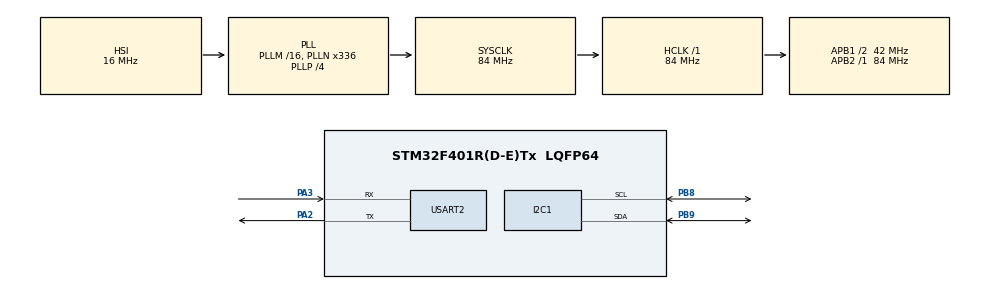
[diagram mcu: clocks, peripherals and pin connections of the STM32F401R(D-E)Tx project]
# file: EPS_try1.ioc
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Mcu.Family=STM32F4
Mcu.Name=STM32F401R(D-E)Tx
Mcu.Package=LQFP64
NVIC.PriorityGroup=NVIC_PRIORITYGROUP_0
PA2.Mode=Asynchronous
PA2.Signal=USART2_TX
PA3.Mode=Asynchronous
PA3.Signal=USART2_RX
PB8.Mode=I2C
PB8.Signal=I2C1_SCL
PB9.Mode=I2C
PB9.Signal=I2C1_SDA
ProjectManager.HeapSize=0x200
ProjectManager.StackSize=0x400
ProjectManager.TargetToolchain=STM32CubeIDE
RCC.48MHZClocksFreq_Value=48000000
RCC.AHBFreq_Value=84000000
RCC.APB1CLKDivider=RCC_HCLK_DIV2
RCC.APB1Freq_Value=42000000
RCC.APB1TimFreq_Value=84000000
RCC.APB2Freq_Value=84000000
RCC.APB2TimFreq_Value=84000000
RCC.CortexFreq_Value=84000000
RCC.HCLKFreq_Value=84000000
RCC.HSE_VALUE=8000000
RCC.HSI_VALUE=16000000
RCC.LSE_VALUE=32768
RCC.PLLN=336
RCC.PLLP=RCC_PLLP_DIV4
RCC.PLLQ=7
RCC.SYSCLKFreq_VALUE=84000000
RCC.SYSCLKSource=RCC_SYSCLKSOURCE_PLLCLK
RCC.VCOOutputFreq_Value=336000000
TIM4.Period=0
TIM4.Prescaler=84-1
USART2.VirtualMode=VM_ASYNC
VP_TIM4_VS_ClockSourceINT.Mode=Internal
board=NUCLEO-F401RE

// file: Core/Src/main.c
/* USER CODE BEGIN Header */
/**
  ******************************************************************************
  * @file           : main.c
  * @brief          : Main program body
  ******************************************************************************
  * @attention
  *
  * Copyright (c) 2023 STMicroelectronics.
  * All rights reserved.
  *
  * This software is licensed under terms that can be found in the LICENSE file
  * in the root directory of this software component.
  * If no LICENSE file comes with this software, it is provided AS-IS.
  *
  ******************************************************************************
  */
/* USER CODE END Header */
#include "main.h"

/* USER CODE BEGIN Includes */
#include "ssd1306.h"
#include "ssd1306_tests.h"
#include "ADXL345.h"

#include <stdbool.h>
#include <string.h>
#include <stdio.h>
/* USER CODE END Includes */

/* USER CODE BEGIN PTD */
#define usTIM	TIM4
/* USER CODE END PTD */

 I2C_HandleTypeDef hi2c1;

TIM_HandleTypeDef htim4;

UART_HandleTypeDef huart2;

void SystemClock_Config(void);
static void MX_GPIO_Init(void);
static void MX_USART2_UART_Init(void);
static void MX_TIM4_Init(void);
static void MX_I2C1_Init(void);
/* USER CODE BEGIN PFP */
void usDelay(uint32_t uSec);
/* USER CODE END PFP */

/* USER CODE BEGIN 0 */
uint8_t myTxData[13] ="---------\r\n";
int16_t x, y, z;
char uartBuf[100];
//Speed of sound in cm/usec

/* USER CODE END 0 */

int main(void)
{

  /* MCU Configuration--------------------------------------------------------*/

  /* Reset of all peripherals, Initializes the Flash interface and the Systick. */
  HAL_Init();

  /* Configure the system clock */
  SystemClock_Config();

  /* Initialize all configured peripherals */
  MX_GPIO_Init();
  MX_USART2_UART_Init();
  MX_TIM4_Init();
  MX_I2C1_Init();
  /* USER CODE BEGIN 2 */
  ssd1306_Init();
  adxl_init();

  /* USER CODE END 2 */

  /* Infinite loop */
  while (1)
    {

    /* USER CODE BEGIN 3 */
	  x=adxl_readx();
	  y=adxl_ready();
	  z=adxl_readz();

	  sprintf(uartBuf, "X  = %d\r\n",x);
	  HAL_UART_Transmit(&huart2, (uint8_t *)uartBuf, strlen(uartBuf), 100);
	  sprintf(uartBuf, "Y  = %d\r\n",y);
	  HAL_UART_Transmit(&huart2, (uint8_t *)uartBuf, strlen(uartBuf), 100);
	  sprintf(uartBuf, "Z  = %d\r\n",z);
	  HAL_UART_Transmit(&huart2, (uint8_t *)uartBuf, strlen(uartBuf), 100);
	  sprintf(uartBuf, "%s\r\n",myTxData);
	  HAL_UART_Transmit(&huart2, (uint8_t *)uartBuf, strlen(uartBuf), 100);
	  HAL_Delay(500);
    }
  /* USER CODE END 3 */
}

void SystemClock_Config(void)
{
  RCC_OscInitTypeDef RCC_OscInitStruct = {0};
  RCC_ClkInitTypeDef RCC_ClkInitStruct = {0};

  /** Configure the main internal regulator output voltage
  */
  __HAL_RCC_PWR_CLK_ENABLE();
  __HAL_PWR_VOLTAGESCALING_CONFIG(PWR_REGULATOR_VOLTAGE_SCALE2);

  /** Initializes the RCC Oscillators according to the specified parameters
  * in the RCC_OscInitTypeDef structure.
  */
  RCC_OscInitStruct.OscillatorType = RCC_OSCILLATORTYPE_HSI;
  RCC_OscInitStruct.HSIState = RCC_HSI_ON;
  RCC_OscInitStruct.HSICalibrationValue = RCC_HSICALIBRATION_DEFAULT;
  RCC_OscInitStruct.PLL.PLLState = RCC_PLL_ON;
  RCC_OscInitStruct.PLL.PLLSource = RCC_PLLSOURCE_HSI;
  RCC_OscInitStruct.PLL.PLLM = 16;
  RCC_OscInitStruct.PLL.PLLN = 336;
  RCC_OscInitStruct.PLL.PLLP = RCC_PLLP_DIV4;
  RCC_OscInitStruct.PLL.PLLQ = 7;
  if (HAL_RCC_OscConfig(&RCC_OscInitStruct) != HAL_OK)
  {
    Error_Handler();
  }

  /** Initializes the CPU, AHB and APB buses clocks
  */
  RCC_ClkInitStruct.ClockType = RCC_CLOCKTYPE_HCLK|RCC_CLOCKTYPE_SYSCLK
                              |RCC_CLOCKTYPE_PCLK1|RCC_CLOCKTYPE_PCLK2;
  RCC_ClkInitStruct.SYSCLKSource = RCC_SYSCLKSOURCE_PLLCLK;
  RCC_ClkInitStruct.AHBCLKDivider = RCC_SYSCLK_DIV1;
  RCC_ClkInitStruct.APB1CLKDivider = RCC_HCLK_DIV2;
  RCC_ClkInitStruct.APB2CLKDivider = RCC_HCLK_DIV1;

  if (HAL_RCC_ClockConfig(&RCC_ClkInitStruct, FLASH_LATENCY_2) != HAL_OK)
  {
    Error_Handler();
  }
}

static void MX_I2C1_Init(void)
{

  hi2c1.Instance = I2C1;
  hi2c1.Init.ClockSpeed = 100000;
  hi2c1.Init.DutyCycle = I2C_DUTYCYCLE_2;
  hi2c1.Init.OwnAddress1 = 0;
  hi2c1.Init.AddressingMode = I2C_ADDRESSINGMODE_7BIT;
  hi2c1.Init.DualAddressMode = I2C_DUALADDRESS_DISABLE;
  hi2c1.Init.OwnAddress2 = 0;
  hi2c1.Init.GeneralCallMode = I2C_GENERALCALL_DISABLE;
  hi2c1.Init.NoStretchMode = I2C_NOSTRETCH_DISABLE;
  if (HAL_I2C_Init(&hi2c1) != HAL_OK)
  {
    Error_Handler();
  }

}

static void MX_TIM4_Init(void)
{

  TIM_ClockConfigTypeDef sClockSourceConfig = {0};
  TIM_MasterConfigTypeDef sMasterConfig = {0};

  htim4.Instance = TIM4;
  htim4.Init.Prescaler = 84-1;
  htim4.Init.CounterMode = TIM_COUNTERMODE_UP;
  htim4.Init.Period = 0;
  htim4.Init.ClockDivision = TIM_CLOCKDIVISION_DIV1;
  htim4.Init.AutoReloadPreload = TIM_AUTORELOAD_PRELOAD_DISABLE;
  if (HAL_TIM_Base_Init(&htim4) != HAL_OK)
  {
    Error_Handler();
  }
  sClockSourceConfig.ClockSource = TIM_CLOCKSOURCE_INTERNAL;
  if (HAL_TIM_ConfigClockSource(&htim4, &sClockSourceConfig) != HAL_OK)
  {
    Error_Handler();
  }
  sMasterConfig.MasterOutputTrigger = TIM_TRGO_RESET;
  sMasterConfig.MasterSlaveMode = TIM_MASTERSLAVEMODE_DISABLE;
  if (HAL_TIMEx_MasterConfigSynchronization(&htim4, &sMasterConfig) != HAL_OK)
  {
    Error_Handler();
  }

}

static void MX_USART2_UART_Init(void)
{

  huart2.Instance = USART2;
  huart2.Init.BaudRate = 115200;
  huart2.Init.WordLength = UART_WORDLENGTH_8B;
  huart2.Init.StopBits = UART_STOPBITS_1;
  huart2.Init.Parity = UART_PARITY_NONE;
  huart2.Init.Mode = UART_MODE_TX_RX;
  huart2.Init.HwFlowCtl = UART_HWCONTROL_NONE;
  huart2.Init.OverSampling = UART_OVERSAMPLING_16;
  if (HAL_UART_Init(&huart2) != HAL_OK)
  {
    Error_Handler();
  }

}

static void MX_GPIO_Init(void)
{

  /* GPIO Ports Clock Enable */
  __HAL_RCC_GPIOA_CLK_ENABLE();
  __HAL_RCC_GPIOB_CLK_ENABLE();

}

/* USER CODE BEGIN 4 */
void usDelay(uint32_t uSec)
{
	if(uSec < 2) uSec = 2;
	usTIM->ARR = uSec - 1; 	/*sets the value in the auto-reload register*/
	usTIM->EGR = 1; 			/*Re-initialises the timer*/
	usTIM->SR &= ~1; 		//Resets the flag
	usTIM->CR1 |= 1; 		//Enables the counter
	while((usTIM->SR&0x0001) != 1);
	usTIM->SR &= ~(0x0001);
}
/* USER CODE END 4 */

void Error_Handler(void)
{
  __disable_irq();
  while (1)
  {
  }
}
